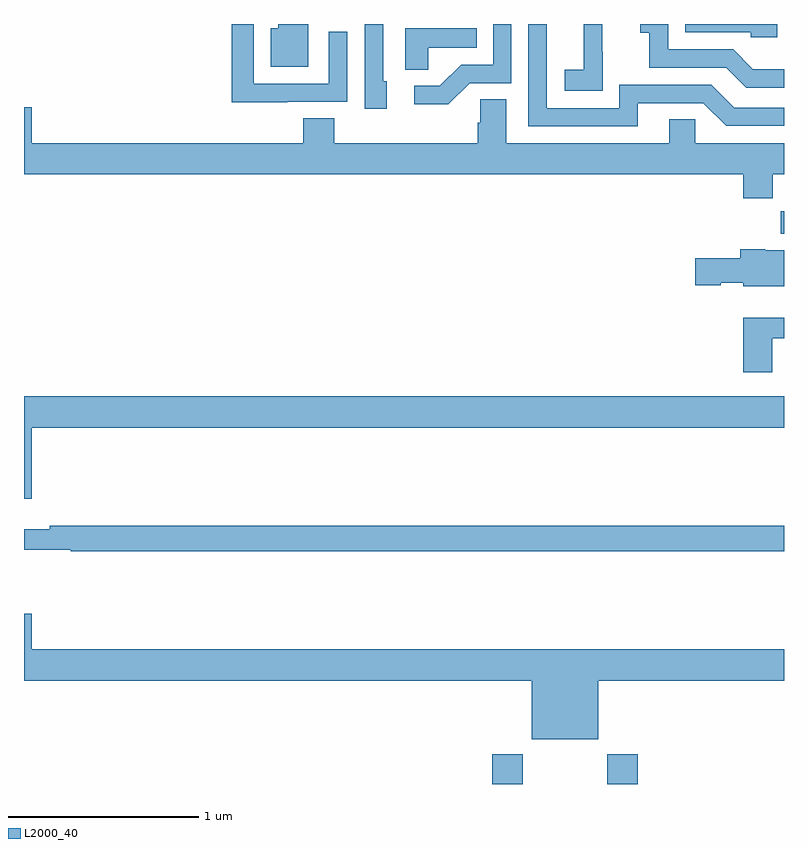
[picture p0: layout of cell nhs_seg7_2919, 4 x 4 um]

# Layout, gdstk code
import gdstk
lib = gdstk.Library(unit=1e-6, precision=1e-09)
def R(c, l, rs):  # rectangles x0, y0, x1, y1
    for r in rs: c.add(gdstk.rectangle(r[:2], r[2:], *l))
def P(c, l, *ps):  # polygons
    for p in ps: c.add(gdstk.Polygon(p, *l))
L2000_40 = (2000, 40)

nhs_seg7_2919 = lib.new_cell('nhs_seg7_2919')
R(nhs_seg7_2919, L2000_40, [(299.465,1072,299.625,1072.156), (300.07,1072,300.23,1072.156), (300.982,1074.896,301,1075.015)])
P(nhs_seg7_2919, L2000_40, [(301,1075.762),(300.836,1075.762),(300.732,1075.866),(300.39,1075.866),(300.39,1076),(300.243,1076),(300.243,1075.955),(300.292,1075.955),(300.292,1075.77),(300.695,1075.77),(300.8,1075.665),(301,1075.665)],
  [(299.346,1075.689),(299.565,1075.689),(299.565,1076),(299.469,1076),(299.469,1075.785),(299.3,1075.785),(299.189,1075.674),(299.055,1075.674),(299.055,1075.577),(299.233,1075.577)],
  [(300.965,1076),(300.48,1076),(300.48,1075.956),(300.825,1075.956),(300.825,1075.929),(300.965,1075.929)],
  [(300.045,1075.855),(300.044,1075.855),(300.044,1076),(299.946,1076),(299.946,1075.988),(299.945,1075.988),(299.945,1075.759),(299.847,1075.759),(299.847,1075.649),(300.045,1075.649)],
  [(300.229,1075.584),(300.576,1075.584),(300.696,1075.464),(301,1075.464),(301,1075.56),(300.738,1075.56),(300.618,1075.68),(300.132,1075.68),(300.132,1075.557),(299.751,1075.557),(299.751,1076),(299.655,1076),(299.655,1075.461),(300.229,1075.461)],
  [(298.909,1075.698),(298.89,1075.698),(298.89,1076),(298.794,1076),(298.794,1075.554),(298.909,1075.554)],
  [(298.495,1076),(298.337,1076),(298.337,1075.978),(298.298,1075.978),(298.298,1075.775),(298.495,1075.775)],
  [(298.385,1075.59),(298.701,1075.59),(298.701,1075.96),(298.605,1075.96),(298.605,1075.686),(298.209,1075.686),(298.209,1076),(298.093,1076),(298.093,1075.589),(298.385,1075.589)],
  [(299.127,1075.874),(299.384,1075.874),(299.384,1075.978),(299.006,1075.978),(299.006,1075.759),(299.127,1075.759)],
  [(300.941,1075.208),(301,1075.208),(301,1075.372),(300.534,1075.372),(300.534,1075.499),(300.395,1075.499),(300.395,1075.372),(299.539,1075.372),(299.539,1075.604),(299.4,1075.604),(299.4,1075.481),(299.387,1075.481),(299.387,1075.372),(298.634,1075.372),(298.634,1075.505),(298.469,1075.505),(298.469,1075.372),(297.04,1075.372),(297.04,1075.561),(297,1075.561),(297,1075.208),(300.785,1075.208),(300.785,1075.084),(300.941,1075.084)],
  [(301,1074.808),(300.9,1074.808),(300.9,1074.814),(300.77,1074.814),(300.77,1074.768),(300.534,1074.768),(300.534,1074.626),(300.666,1074.626),(300.666,1074.638),(300.786,1074.638),(300.786,1074.62),(301,1074.62)],
  [(300.937,1074.345),(301,1074.345),(301,1074.454),(300.785,1074.454),(300.785,1074.168),(300.937,1074.168)],
  [(297.04,1073.876),(301,1073.876),(301,1074.04),(297,1074.04),(297,1073.502),(297.04,1073.502)],
  [(301,1073.36),(297.136,1073.36),(297.136,1073.341),(297,1073.341),(297,1073.232),(297.245,1073.232),(297.245,1073.224),(301,1073.224)],
  [(300.022,1072.544),(301,1072.544),(301,1072.708),(297.04,1072.708),(297.04,1072.897),(297,1072.897),(297,1072.544),(299.672,1072.544),(299.672,1072.235),(300.022,1072.235)])

lib.write_gds('nhs_seg7_2919.gds')
